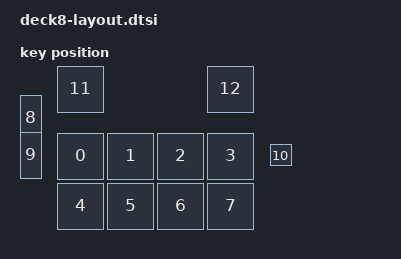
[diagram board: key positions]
/*
 * Physical layout for ZMK Studio and keymap tools. Units are 1/100 of a key (19.05 mm), taken from the layout
 * table in mechanical/fusion/Deck8Model/Deck8Model.py: keys on a 19.05 mm grid, knobs 25.5 mm behind the back row,
 * L1/L2 on the left wall, System on the right wall.
 *
 * Positions: 0-3 back row keys 1-4, 4-7 front row keys 5-8, 8 L1, 9 L2, 10 System, 11 knob A push, 12 knob B push.
 */

#include <physical_layouts.dtsi>

/ {
    deck8_layout: deck8_layout {
        compatible = "zmk,physical-layout";
        display-name = "Deck-8";

        keys  //                     w   h    x    y  rot rx ry
            = <&key_physical_attrs 100 100  100  150   0  0  0>
            , <&key_physical_attrs 100 100  200  150   0  0  0>
            , <&key_physical_attrs 100 100  300  150   0  0  0>
            , <&key_physical_attrs 100 100  400  150   0  0  0>
            , <&key_physical_attrs 100 100  100  250   0  0  0>
            , <&key_physical_attrs 100 100  200  250   0  0  0>
            , <&key_physical_attrs 100 100  300  250   0  0  0>
            , <&key_physical_attrs 100 100  400  250   0  0  0>
            , <&key_physical_attrs  50 100   25   74   0  0  0>
            , <&key_physical_attrs  50 100   25  148   0  0  0>
            , <&key_physical_attrs  50  50  525  173   0  0  0>
            , <&key_physical_attrs 100 100  100   16   0  0  0>
            , <&key_physical_attrs 100 100  400   16   0  0  0>
            ;
    };
};
